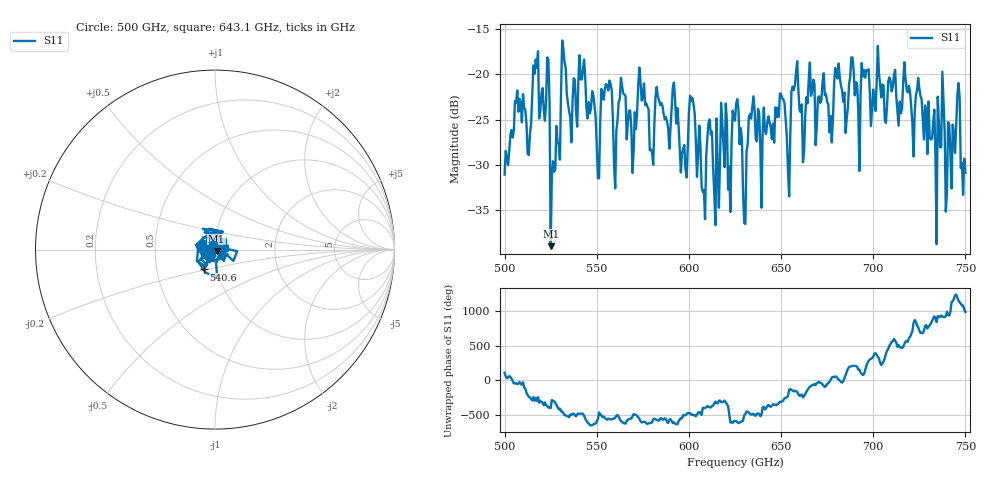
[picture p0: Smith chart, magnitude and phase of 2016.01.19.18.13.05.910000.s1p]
!Created with skrf (http://scikit-rf.org).
# GHz S RI R 50.0
!freq ReS11 ImS11
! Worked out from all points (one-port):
!   401 points, 500 GHz to 750 GHz, reference 50 ohm
!   lowest |S11| = -39.0 dB at 525 GHz (marker M1), VSWR 1.02, Z = 50.9 - j0.723 ohm
!   |S11| at or under -10 dB: start of sweep to end of sweep
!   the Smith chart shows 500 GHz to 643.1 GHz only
!   S11 on the Smith chart (normalised r, x): 500 GHz: 0.98, +0.05; 540.6 GHz: 0.86, -0.19; 643.1 GHz: 1.12, +0.01
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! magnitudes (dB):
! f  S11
! 500 GHz  -31.1
! 506.9 GHz  -21.8
! 513.1 GHz  -28.9
! 516.9 GHz  -18.4
! 525 GHz  -39.0
! 526.2 GHz  -29.6
! 531.2 GHz  -16.3
! 540.6 GHz  -17.9
! 550.6 GHz  -31.5
! 562.5 GHz  -22.7
! 593.8 GHz  -23.7
! 598.1 GHz  -30.5
! 601.9 GHz  -22.6
! 608.1 GHz  -32.8
! 611.2 GHz  -25.0
! 615 GHz  -24.9
! 625 GHz  -25.1
! 630.6 GHz  -36.5
! 633.8 GHz  -24.9
! 643.1 GHz  -24.6
! 650.6 GHz  -22.7
! 653.8 GHz  -30.6
! 656.2 GHz  -21.4
! 687.5 GHz  -20.3
! 718.8 GHz  -22.0
! 740.6 GHz  -25.3
! 745.6 GHz  -22.3
! 750 GHz  -30.9
